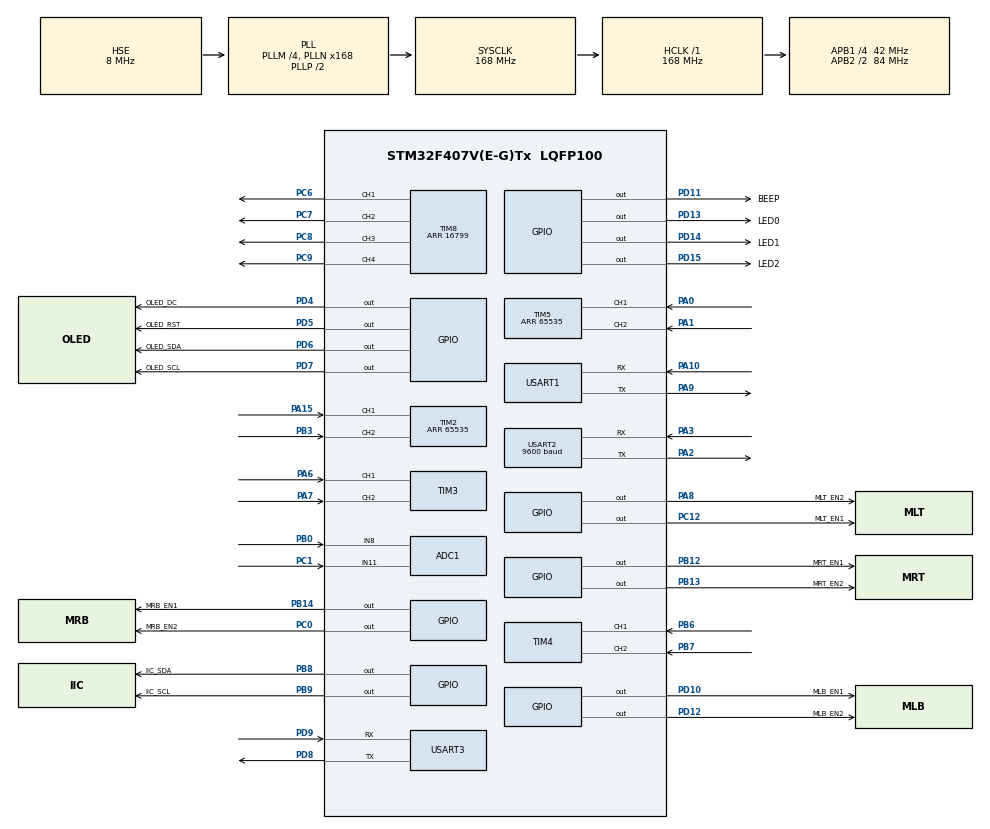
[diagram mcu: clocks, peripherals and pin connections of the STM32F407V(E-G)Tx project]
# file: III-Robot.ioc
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ADC1.Channel-0\#ChannelRegularConversion=ADC_CHANNEL_8
ADC1.Channel-1\#ChannelRegularConversion=ADC_CHANNEL_11
ADC1.ContinuousConvMode=ENABLE
ADC1.InjNumberOfConversion=0
ADC1.NbrOfConversion=2
ADC1.NbrOfConversionFlag=1
ADC1.Rank-0\#ChannelRegularConversion=1
ADC1.Rank-1\#ChannelRegularConversion=2
ADC1.SamplingTime-0\#ChannelRegularConversion=ADC_SAMPLETIME_56CYCLES
ADC1.SamplingTime-1\#ChannelRegularConversion=ADC_SAMPLETIME_56CYCLES
ADC1.master=1
Dma.ADC1.0.Direction=DMA_PERIPH_TO_MEMORY
Dma.ADC1.0.FIFOMode=DMA_FIFOMODE_DISABLE
Dma.ADC1.0.Instance=DMA2_Stream0
Dma.ADC1.0.MemDataAlignment=DMA_MDATAALIGN_HALFWORD
Dma.ADC1.0.MemInc=DMA_MINC_ENABLE
Dma.ADC1.0.Mode=DMA_CIRCULAR
Dma.ADC1.0.PeriphDataAlignment=DMA_PDATAALIGN_HALFWORD
Dma.ADC1.0.PeriphInc=DMA_PINC_DISABLE
Dma.ADC1.0.Priority=DMA_PRIORITY_LOW
Dma.Request0=ADC1
Dma.Request1=USART1_RX
Dma.Request2=USART1_TX
Dma.USART1_RX.1.Direction=DMA_PERIPH_TO_MEMORY
Dma.USART1_RX.1.FIFOMode=DMA_FIFOMODE_DISABLE
Dma.USART1_RX.1.Instance=DMA2_Stream2
Dma.USART1_RX.1.MemDataAlignment=DMA_MDATAALIGN_BYTE
Dma.USART1_RX.1.MemInc=DMA_MINC_ENABLE
Dma.USART1_RX.1.Mode=DMA_CIRCULAR
Dma.USART1_RX.1.PeriphDataAlignment=DMA_PDATAALIGN_BYTE
Dma.USART1_RX.1.PeriphInc=DMA_PINC_DISABLE
Dma.USART1_RX.1.Priority=DMA_PRIORITY_VERY_HIGH
Dma.USART1_TX.2.Direction=DMA_MEMORY_TO_PERIPH
Dma.USART1_TX.2.FIFOMode=DMA_FIFOMODE_DISABLE
Dma.USART1_TX.2.Instance=DMA2_Stream7
Dma.USART1_TX.2.MemDataAlignment=DMA_MDATAALIGN_BYTE
Dma.USART1_TX.2.MemInc=DMA_MINC_ENABLE
Dma.USART1_TX.2.Mode=DMA_NORMAL
Dma.USART1_TX.2.PeriphDataAlignment=DMA_PDATAALIGN_BYTE
Dma.USART1_TX.2.PeriphInc=DMA_PINC_DISABLE
Dma.USART1_TX.2.Priority=DMA_PRIORITY_VERY_HIGH
FREERTOS.Tasks01=defaultTask,24,128,StartDefaultTask,Default,NULL,Dynamic,NULL,NULL
Mcu.Family=STM32F4
Mcu.Name=STM32F407V(E-G)Tx
Mcu.Package=LQFP100
NVIC.DMA2_Stream0_IRQn=true\:5\:0\:false\:false\:false\:true\:false\:true\:true
NVIC.DMA2_Stream2_IRQn=true\:5\:0\:false\:false\:true\:true\:false\:true\:true
NVIC.DMA2_Stream7_IRQn=true\:5\:0\:false\:false\:true\:true\:false\:true\:true
NVIC.PriorityGroup=NVIC_PRIORITYGROUP_4
NVIC.TIM1_UP_TIM10_IRQn=true\:15\:0\:false\:false\:true\:false\:false\:true\:true
NVIC.TIM2_IRQn=true\:5\:0\:false\:false\:true\:true\:true\:true\:true
NVIC.TIM3_IRQn=true\:5\:0\:false\:false\:true\:true\:true\:true\:true
NVIC.TIM4_IRQn=true\:5\:0\:false\:false\:true\:true\:true\:true\:true
NVIC.TIM5_IRQn=true\:5\:0\:false\:false\:true\:true\:true\:true\:true
NVIC.TimeBase=TIM1_UP_TIM10_IRQn
NVIC.TimeBaseIP=TIM1
NVIC.USART1_IRQn=true\:5\:0\:false\:false\:true\:true\:true\:true\:true
NVIC.USART2_IRQn=true\:5\:0\:false\:false\:false\:true\:true\:true\:true
PA0-WKUP.GPIO_PuPd=GPIO_PULLUP
PA0-WKUP.GPIO_Speed=GPIO_SPEED_FREQ_VERY_HIGH
PA0-WKUP.Signal=S_TIM5_CH1
PA1.GPIO_PuPd=GPIO_PULLUP
PA1.GPIO_Speed=GPIO_SPEED_FREQ_VERY_HIGH
PA1.Signal=S_TIM5_CH2
PA10.Mode=Asynchronous
PA10.Signal=USART1_RX
PA13.Mode=Serial_Wire
PA13.Signal=SYS_JTMS-SWDIO
PA14.Mode=Serial_Wire
PA14.Signal=SYS_JTCK-SWCLK
PA15.GPIO_PuPd=GPIO_PULLUP
PA15.GPIO_Speed=GPIO_SPEED_FREQ_VERY_HIGH
PA15.Signal=S_TIM2_CH1_ETR
PA2.Mode=Asynchronous
PA2.Signal=USART2_TX
PA3.Mode=Asynchronous
PA3.Signal=USART2_RX
PA6.GPIO_PuPd=GPIO_PULLUP
PA6.GPIO_Speed=GPIO_SPEED_FREQ_VERY_HIGH
PA6.Signal=S_TIM3_CH1
PA7.GPIO_PuPd=GPIO_PULLUP
PA7.GPIO_Speed=GPIO_SPEED_FREQ_VERY_HIGH
PA7.Signal=S_TIM3_CH2
PA8.GPIO_Label=MLT_EN2
PA8.GPIO_PuPd=GPIO_PULLUP
PA8.Signal=GPIO_Output
PA9.Mode=Asynchronous
PA9.Signal=USART1_TX
PB0.Signal=ADCx_IN8
PB12.GPIO_Label=MRT_EN1
PB12.GPIO_PuPd=GPIO_PULLUP
PB12.Signal=GPIO_Output
PB13.GPIO_Label=MRT_EN2
PB13.GPIO_PuPd=GPIO_PULLUP
PB13.Signal=GPIO_Output
PB14.GPIO_Label=MRB_EN1
PB14.GPIO_PuPd=GPIO_PULLUP
PB14.Signal=GPIO_Output
PB3.GPIO_PuPd=GPIO_PULLUP
PB3.GPIO_Speed=GPIO_SPEED_FREQ_VERY_HIGH
PB3.Signal=S_TIM2_CH2
PB6.GPIO_PuPd=GPIO_PULLUP
PB6.GPIO_Speed=GPIO_SPEED_FREQ_VERY_HIGH
PB6.Signal=S_TIM4_CH1
PB7.GPIO_PuPd=GPIO_PULLUP
PB7.GPIO_Speed=GPIO_SPEED_FREQ_VERY_HIGH
PB7.Signal=S_TIM4_CH2
PB8.GPIO_Label=IIC_SDA
PB8.GPIO_PuPd=GPIO_PULLUP
PB8.GPIO_Speed=GPIO_SPEED_FREQ_VERY_HIGH
PB8.PinState=GPIO_PIN_SET
PB8.Signal=GPIO_Output
PB9.GPIO_Label=IIC_SCL
PB9.GPIO_PuPd=GPIO_PULLUP
PB9.GPIO_Speed=GPIO_SPEED_FREQ_VERY_HIGH
PB9.PinState=GPIO_PIN_SET
PB9.Signal=GPIO_Output
PC0.GPIO_Label=MRB_EN2
PC0.GPIO_PuPd=GPIO_PULLUP
PC0.Signal=GPIO_Output
PC1.Signal=ADCx_IN11
PC12.GPIO_Label=MLT_EN1
PC12.GPIO_PuPd=GPIO_PULLUP
PC12.Signal=GPIO_Output
PC6.GPIO_PuPd=GPIO_PULLUP
PC6.GPIO_Speed=GPIO_SPEED_FREQ_VERY_HIGH
PC6.Signal=S_TIM8_CH1
PC7.GPIO_PuPd=GPIO_PULLUP
PC7.GPIO_Speed=GPIO_SPEED_FREQ_VERY_HIGH
PC7.Signal=S_TIM8_CH2
PC8.GPIO_PuPd=GPIO_PULLUP
PC8.GPIO_Speed=GPIO_SPEED_FREQ_VERY_HIGH
PC8.Signal=S_TIM8_CH3
PC9.GPIO_PuPd=GPIO_PULLUP
PC9.GPIO_Speed=GPIO_SPEED_FREQ_VERY_HIGH
PC9.Signal=S_TIM8_CH4
PD10.GPIO_Label=MLB_EN1
PD10.GPIO_PuPd=GPIO_PULLUP
PD10.Signal=GPIO_Output
PD11.GPIO_Label=BEEP
PD11.GPIO_PuPd=GPIO_PULLUP
PD11.GPIO_Speed=GPIO_SPEED_FREQ_HIGH
PD11.PinState=GPIO_PIN_RESET
PD11.Signal=GPIO_Output
PD12.GPIO_Label=MLB_EN2
PD12.GPIO_PuPd=GPIO_PULLUP
PD12.Signal=GPIO_Output
PD13.GPIO_Label=LED0
PD13.GPIO_ModeDefaultOutputPP=GPIO_MODE_OUTPUT_PP
PD13.GPIO_PuPd=GPIO_PULLUP
PD13.GPIO_Speed=GPIO_SPEED_FREQ_HIGH
PD13.PinState=GPIO_PIN_SET
PD13.Signal=GPIO_Output
PD14.GPIO_Label=LED1
PD14.GPIO_PuPd=GPIO_PULLUP
PD14.GPIO_Speed=GPIO_SPEED_FREQ_HIGH
PD14.PinState=GPIO_PIN_SET
PD14.Signal=GPIO_Output
PD15.GPIO_Label=LED2
PD15.GPIO_PuPd=GPIO_PULLUP
PD15.GPIO_Speed=GPIO_SPEED_FREQ_HIGH
PD15.PinState=GPIO_PIN_SET
PD15.Signal=GPIO_Output
PD4.GPIO_Label=OLED_DC
PD4.Signal=GPIO_Output
PD5.GPIO_Label=OLED_RST
PD5.Signal=GPIO_Output
PD6.GPIO_Label=OLED_SDA
PD6.Signal=GPIO_Output
PD7.GPIO_Label=OLED_SCL
PD7.Signal=GPIO_Output
PD8.Mode=Asynchronous
PD8.Signal=USART3_TX
PD9.Mode=Asynchronous
PD9.Signal=USART3_RX
PH0-OSC_IN.Mode=HSE-External-Oscillator
PH0-OSC_IN.Signal=RCC_OSC_IN
PH1-OSC_OUT.Mode=HSE-External-Oscillator
PH1-OSC_OUT.Signal=RCC_OSC_OUT
ProjectManager.HeapSize=0x200
ProjectManager.StackSize=0x400
ProjectManager.TargetToolchain=Makefile
RCC.48MHZClocksFreq_Value=84000000
RCC.AHBFreq_Value=168000000
RCC.APB1CLKDivider=RCC_HCLK_DIV4
RCC.APB1Freq_Value=42000000
RCC.APB1TimFreq_Value=84000000
RCC.APB2CLKDivider=RCC_HCLK_DIV2
RCC.APB2Freq_Value=84000000
RCC.APB2TimFreq_Value=168000000
RCC.CortexFreq_Value=168000000
RCC.HCLKFreq_Value=168000000
RCC.HSE_VALUE=8000000
RCC.HSI_VALUE=16000000
RCC.LSE_VALUE=32768
RCC.PLLM=4
RCC.PLLN=168
RCC.PLLSourceVirtual=RCC_PLLSOURCE_HSE
RCC.SYSCLKFreq_VALUE=168000000
RCC.SYSCLKSource=RCC_SYSCLKSOURCE_PLLCLK
RCC.VCOOutputFreq_Value=336000000
SH.ADCx_IN11.0=ADC1_IN11,IN11
SH.ADCx_IN8.0=ADC1_IN8,IN8
SH.S_TIM2_CH1_ETR.0=TIM2_CH1,Encoder_Interface
SH.S_TIM2_CH2.0=TIM2_CH2,Encoder_Interface
SH.S_TIM3_CH1.0=TIM3_CH1,Encoder_Interface
SH.S_TIM3_CH2.0=TIM3_CH2,Encoder_Interface
SH.S_TIM4_CH1.0=TIM4_CH1,Encoder_Interface
SH.S_TIM4_CH2.0=TIM4_CH2,Encoder_Interface
SH.S_TIM5_CH1.0=TIM5_CH1,Encoder_Interface
SH.S_TIM5_CH2.0=TIM5_CH2,Encoder_Interface
SH.S_TIM8_CH1.0=TIM8_CH1,PWM Generation1 CH1
SH.S_TIM8_CH2.0=TIM8_CH2,PWM Generation2 CH2
SH.S_TIM8_CH3.0=TIM8_CH3,PWM Generation3 CH3
SH.S_TIM8_CH4.0=TIM8_CH4,PWM Generation4 CH4
TIM2.AutoReloadPreload=TIM_AUTORELOAD_PRELOAD_ENABLE
TIM2.EncoderMode=TIM_ENCODERMODE_TI12
TIM2.Period=65535
TIM3.AutoReloadPreload=TIM_AUTORELOAD_PRELOAD_ENABLE
TIM3.EncoderMode=TIM_ENCODERMODE_TI12
TIM4.AutoReloadPreload=TIM_AUTORELOAD_PRELOAD_ENABLE
TIM4.EncoderMode=TIM_ENCODERMODE_TI12
TIM5.AutoReloadPreload=TIM_AUTORELOAD_PRELOAD_ENABLE
TIM5.EncoderMode=TIM_ENCODERMODE_TI12
TIM5.Period=65535
TIM8.Channel-PWM\ Generation1\ CH1=TIM_CHANNEL_1
TIM8.Channel-PWM\ Generation2\ CH2=TIM_CHANNEL_2
TIM8.Channel-PWM\ Generation3\ CH3=TIM_CHANNEL_3
TIM8.Channel-PWM\ Generation4\ CH4=TIM_CHANNEL_4
TIM8.Period=16799
USART1.VirtualMode=VM_ASYNC
USART2.BaudRate=9600
USART2.VirtualMode=VM_ASYNC
USART3.VirtualMode=VM_ASYNC
VP_FREERTOS_VS_CMSIS_V2.Mode=CMSIS_V2
VP_SYS_VS_tim1.Mode=TIM1
VP_TIM8_VS_ClockSourceINT.Mode=Internal
board=custom

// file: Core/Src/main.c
/* USER CODE BEGIN Header */
/**
  ******************************************************************************
  * @file           : main.c
  * @brief          : Main program body
  ******************************************************************************
  * @attention
  *
  * Copyright (c) 2023 STMicroelectronics.
  * All rights reserved.
  *
  * This software is licensed under terms that can be found in the LICENSE file
  * in the root directory of this software component.
  * If no LICENSE file comes with this software, it is provided AS-IS.
  *
  ******************************************************************************
  */
/* USER CODE END Header */
#include "main.h"
#include "cmsis_os.h"
#include "adc.h"
#include "dma.h"
#include "tim.h"
#include "usart.h"
#include "gpio.h"

void SystemClock_Config(void);
void MX_FREERTOS_Init(void);

int main(void)
{

  /* MCU Configuration--------------------------------------------------------*/

  /* Reset of all peripherals, Initializes the Flash interface and the Systick. */
  HAL_Init();

  /* Configure the system clock */
  SystemClock_Config();

  /* Initialize all configured peripherals */
  MX_GPIO_Init();
  MX_DMA_Init();
  MX_USART1_UART_Init();
  MX_ADC1_Init();
  MX_USART3_UART_Init();
  MX_TIM2_Init();
  MX_TIM3_Init();
  MX_TIM4_Init();
  MX_TIM5_Init();
  MX_TIM8_Init();
  MX_USART2_UART_Init();

  /* Init scheduler */
  osKernelInitialize();  /* Call init function for freertos objects (in freertos.c) */
  MX_FREERTOS_Init();

  /* Start scheduler */
  osKernelStart();

  /* We should never get here as control is now taken by the scheduler */
  /* Infinite loop */
  /* USER CODE BEGIN WHILE */
  while (1)
  {
	  break;
    /* USER CODE END WHILE */

  }
}

void SystemClock_Config(void)
{
  RCC_OscInitTypeDef RCC_OscInitStruct = {0};
  RCC_ClkInitTypeDef RCC_ClkInitStruct = {0};

  /** Configure the main internal regulator output voltage
  */
  __HAL_RCC_PWR_CLK_ENABLE();
  __HAL_PWR_VOLTAGESCALING_CONFIG(PWR_REGULATOR_VOLTAGE_SCALE1);

  /** Initializes the RCC Oscillators according to the specified parameters
  * in the RCC_OscInitTypeDef structure.
  */
  RCC_OscInitStruct.OscillatorType = RCC_OSCILLATORTYPE_HSE;
  RCC_OscInitStruct.HSEState = RCC_HSE_ON;
  RCC_OscInitStruct.PLL.PLLState = RCC_PLL_ON;
  RCC_OscInitStruct.PLL.PLLSource = RCC_PLLSOURCE_HSE;
  RCC_OscInitStruct.PLL.PLLM = 4;
  RCC_OscInitStruct.PLL.PLLN = 168;
  RCC_OscInitStruct.PLL.PLLP = RCC_PLLP_DIV2;
  RCC_OscInitStruct.PLL.PLLQ = 4;
  if (HAL_RCC_OscConfig(&RCC_OscInitStruct) != HAL_OK)
  {
    Error_Handler();
  }

  /** Initializes the CPU, AHB and APB buses clocks
  */
  RCC_ClkInitStruct.ClockType = RCC_CLOCKTYPE_HCLK|RCC_CLOCKTYPE_SYSCLK
                              |RCC_CLOCKTYPE_PCLK1|RCC_CLOCKTYPE_PCLK2;
  RCC_ClkInitStruct.SYSCLKSource = RCC_SYSCLKSOURCE_PLLCLK;
  RCC_ClkInitStruct.AHBCLKDivider = RCC_SYSCLK_DIV1;
  RCC_ClkInitStruct.APB1CLKDivider = RCC_HCLK_DIV4;
  RCC_ClkInitStruct.APB2CLKDivider = RCC_HCLK_DIV2;

  if (HAL_RCC_ClockConfig(&RCC_ClkInitStruct, FLASH_LATENCY_5) != HAL_OK)
  {
    Error_Handler();
  }
}

void HAL_TIM_PeriodElapsedCallback(TIM_HandleTypeDef *htim)
{
  if (htim->Instance == TIM1) {
    HAL_IncTick();
  }
}

void Error_Handler(void)
{
  __disable_irq();
  while (1)
  {
  }
}

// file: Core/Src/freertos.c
/* USER CODE BEGIN Header */
/**
  ******************************************************************************
  * File Name          : freertos.c
  * Description        : Code for freertos applications
  ******************************************************************************
  * @attention
  *
  * Copyright (c) 2023 STMicroelectronics.
  * All rights reserved.
  *
  * This software is licensed under terms that can be found in the LICENSE file
  * in the root directory of this software component.
  * If no LICENSE file comes with this software, it is provided AS-IS.
  *
  ******************************************************************************
  */
/* USER CODE END Header */

#include "FreeRTOS.h"
#include "task.h"
#include "main.h"
#include "cmsis_os.h"

/* USER CODE BEGIN Includes */
#include <stdbool.h>
#include "utils.h"
#include "task_microros.h"
#include "task_robot.h"
#include "task_encoder.h"
/* USER CODE END Includes */

/* USER CODE BEGIN PTD */
bool agent_init_flag = false;
/* USER CODE END PTD */

/* USER CODE BEGIN PD */
extern UART_HandleTypeDef huart1;
extern ADC_HandleTypeDef hadc1;
/* USER CODE END PD */

/* Definitions for defaultTask */
osThreadId_t defaultTaskHandle;
const osThreadAttr_t defaultTask_attributes = {
  .name = "defaultTask",
  .stack_size = 128 * 4,
  .priority = (osPriority_t) osPriorityNormal,
};

void StartDefaultTask(void *argument);

void MX_FREERTOS_Init(void); /* (MISRA C 2004 rule 8.1) */

void MX_FREERTOS_Init(void) {

  /* Create the thread(s) */
  /* creation of defaultTask */
  defaultTaskHandle = osThreadNew(StartDefaultTask, NULL, &defaultTask_attributes);

  /* USER CODE BEGIN RTOS_THREADS */
  /* add threads, ... */
    // vTaskSuspendAll();
    delay_init();
    printf_init();
    // vTaskSuspendAll();
    create_microros_thread();
    // xTaskResumeAll();
    // xTaskResumeAll();
  /* USER CODE END RTOS_THREADS */

}

void StartDefaultTask(void *argument)
{
  /* USER CODE BEGIN StartDefaultTask */

  /* Infinite loop */
  while(1)
  {
    if(agent_init_flag == true)
    {
      osDelay(2000);
      vTaskSuspendAll();
      create_robot_thread();
      create_encoder_thread();
      xTaskResumeAll();
      vTaskDelete(NULL);
    }
    osDelay(100);
  }
  /* USER CODE END StartDefaultTask */
}
